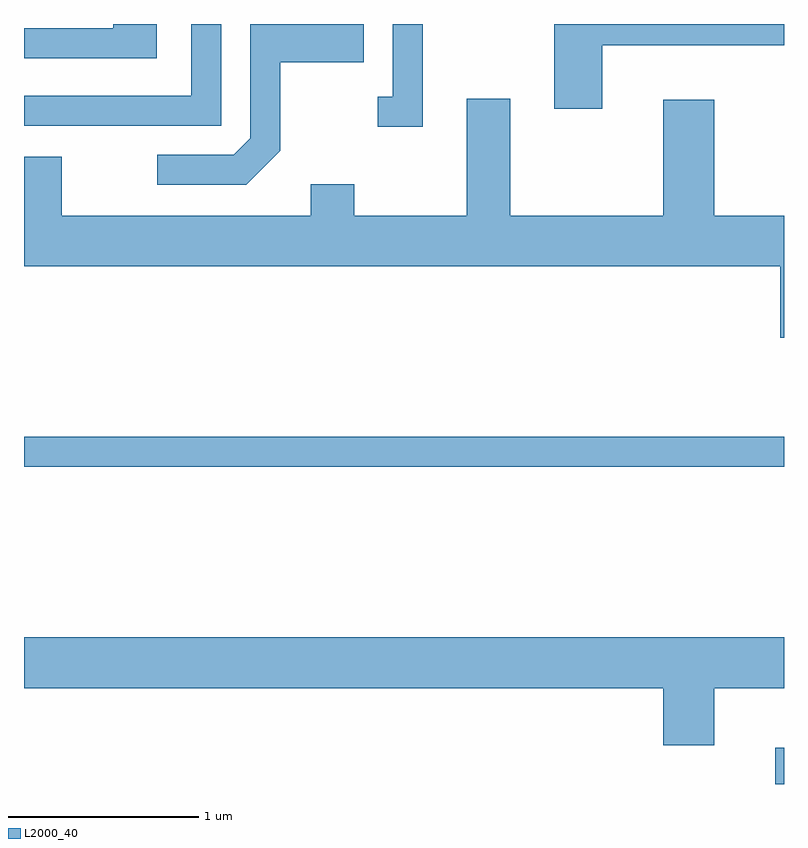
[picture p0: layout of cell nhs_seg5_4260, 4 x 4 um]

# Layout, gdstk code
import gdstk
lib = gdstk.Library(unit=1e-6, precision=1e-09)
def R(c, l, rs):  # rectangles x0, y0, x1, y1
    for r in rs: c.add(gdstk.rectangle(r[:2], r[2:], *l))
def P(c, l, *ps):  # polygons
    for p in ps: c.add(gdstk.Polygon(p, *l))
L2000_40 = (2000, 40)

nhs_seg5_4260 = lib.new_cell('nhs_seg5_4260')
R(nhs_seg5_4260, L2000_40, [(315.566,1454.072,315.611,1454.264), (311.611,1455.741,315.611,1455.899)])
P(nhs_seg5_4260, L2000_40, [(312.309,1458.072),(312.081,1458.072),(312.081,1458.049),(311.611,1458.049),(311.611,1457.891),(312.309,1457.891)],
  [(313.709,1458.072),(313.551,1458.072),(313.551,1457.689),(313.473,1457.689),(313.473,1457.531),(313.709,1457.531)],
  [(314.654,1457.961),(315.611,1457.961),(315.611,1458.072),(314.401,1458.072),(314.401,1457.626),(314.654,1457.626)],
  [(312.959,1457.404),(312.959,1457.871),(313.399,1457.871),(313.399,1458.072),(312.801,1458.072),(312.801,1457.472),(312.714,1457.384),(312.313,1457.384),(312.313,1457.226),(312.782,1457.226)],
  [(312.649,1458.072),(312.491,1458.072),(312.491,1457.694),(311.611,1457.694),(311.611,1457.536),(312.649,1457.536)],
  [(315.611,1457.064),(315.244,1457.064),(315.244,1457.674),(314.976,1457.674),(314.976,1457.064),(314.169,1457.064),(314.169,1457.679),(313.941,1457.679),(313.941,1457.064),(313.349,1457.064),(313.349,1457.229),(313.121,1457.229),(313.121,1457.064),(311.809,1457.064),(311.809,1457.374),(311.611,1457.374),(311.611,1456.796),(315.591,1456.796),(315.591,1456.421),(315.611,1456.421)],
  [(315.244,1454.576),(315.611,1454.576),(315.611,1454.844),(311.611,1454.844),(311.611,1454.576),(314.976,1454.576),(314.976,1454.276),(315.244,1454.276)])

lib.write_gds('nhs_seg5_4260.gds')
